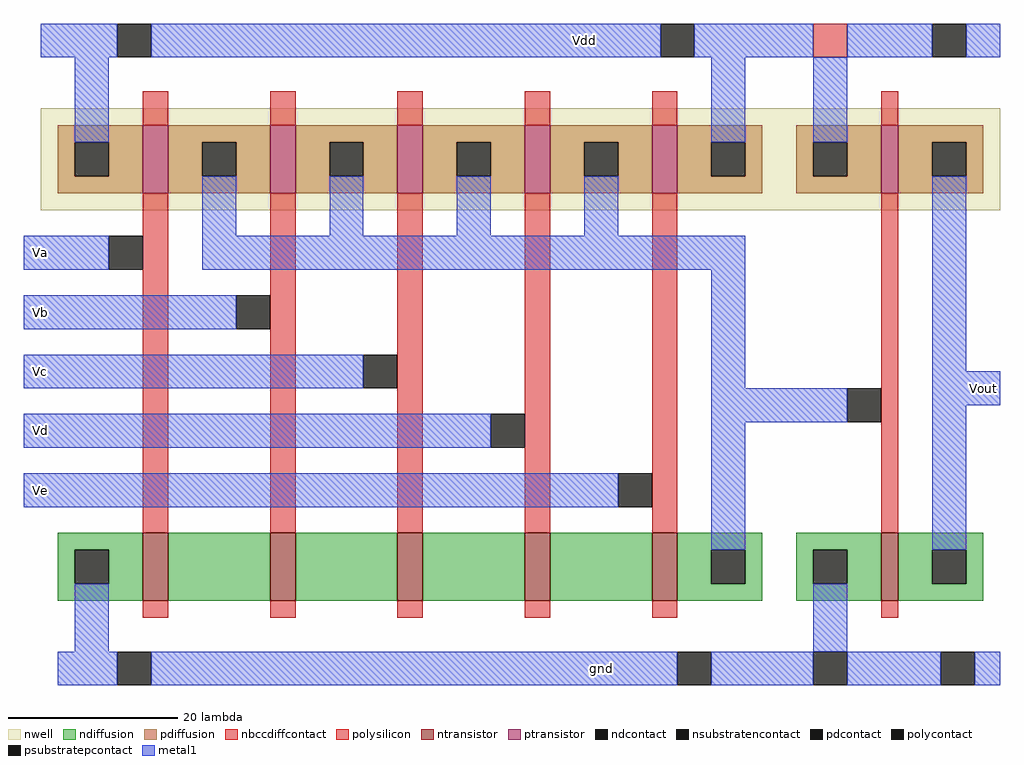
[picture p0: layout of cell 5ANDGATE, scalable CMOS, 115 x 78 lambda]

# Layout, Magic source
magic
tech scmos
<< nwell >>
rect -13 49 100 61
<< polysilicon >>
rect -1 59 2 63
rect 14 59 17 63
rect 29 59 32 63
rect 44 59 47 63
rect 59 59 62 63
rect 86 59 88 63
rect -1 11 2 51
rect 14 11 17 51
rect 29 11 32 51
rect 44 11 47 51
rect 59 11 62 51
rect 86 11 88 51
rect -1 1 2 3
rect 14 1 17 3
rect 29 1 32 3
rect 44 1 47 3
rect 59 1 62 3
rect 86 1 88 3
<< ndiffusion >>
rect -11 9 -1 11
rect -11 5 -9 9
rect -5 5 -1 9
rect -11 3 -1 5
rect 2 3 14 11
rect 17 3 29 11
rect 32 3 44 11
rect 47 3 59 11
rect 62 9 72 11
rect 62 5 66 9
rect 70 5 72 9
rect 62 3 72 5
rect 76 9 86 11
rect 76 5 78 9
rect 82 5 86 9
rect 76 3 86 5
rect 88 9 98 11
rect 88 5 92 9
rect 96 5 98 9
rect 88 3 98 5
<< pdiffusion >>
rect -11 57 -1 59
rect -11 53 -9 57
rect -5 53 -1 57
rect -11 51 -1 53
rect 2 57 14 59
rect 2 53 6 57
rect 10 53 14 57
rect 2 51 14 53
rect 17 57 29 59
rect 17 53 21 57
rect 25 53 29 57
rect 17 51 29 53
rect 32 57 44 59
rect 32 53 36 57
rect 40 53 44 57
rect 32 51 44 53
rect 47 57 59 59
rect 47 53 51 57
rect 55 53 59 57
rect 47 51 59 53
rect 62 57 72 59
rect 62 53 66 57
rect 70 53 72 57
rect 62 51 72 53
rect 76 57 86 59
rect 76 53 78 57
rect 82 53 86 57
rect 76 51 86 53
rect 88 57 98 59
rect 88 53 92 57
rect 96 53 98 57
rect 88 51 98 53
<< metal1 >>
rect -13 67 -4 71
rect 0 67 60 71
rect 64 67 78 71
rect 82 67 92 71
rect 96 67 100 71
rect -9 57 -5 67
rect 66 57 70 67
rect 6 46 10 53
rect 21 46 25 53
rect 36 46 40 53
rect 78 57 82 67
rect 51 46 55 53
rect -15 42 -5 46
rect 6 42 70 46
rect -15 35 10 39
rect -15 28 25 32
rect 66 28 70 42
rect 92 30 96 53
rect -15 21 40 25
rect 66 24 82 28
rect 92 26 100 30
rect -15 14 55 18
rect 66 9 70 24
rect 92 9 96 26
rect -9 -3 -5 5
rect 78 -3 82 5
rect -11 -7 -4 -3
rect 0 -7 62 -3
rect 66 -7 78 -3
rect 82 -7 93 -3
rect 97 -7 100 -3
<< ntransistor >>
rect -1 3 2 11
rect 14 3 17 11
rect 29 3 32 11
rect 44 3 47 11
rect 59 3 62 11
rect 86 3 88 11
<< ptransistor >>
rect -1 51 2 59
rect 14 51 17 59
rect 29 51 32 59
rect 44 51 47 59
rect 59 51 62 59
rect 86 51 88 59
<< polycontact >>
rect -5 42 -1 46
rect 10 35 14 39
rect 25 28 29 32
rect 40 21 44 25
rect 55 14 59 18
rect 82 24 86 28
<< ndcontact >>
rect -9 5 -5 9
rect 66 5 70 9
rect 78 5 82 9
rect 92 5 96 9
<< pdcontact >>
rect -9 53 -5 57
rect 6 53 10 57
rect 21 53 25 57
rect 36 53 40 57
rect 51 53 55 57
rect 66 53 70 57
rect 78 53 82 57
rect 92 53 96 57
<< nbccdiffcontact >>
rect 78 67 82 71
<< psubstratepcontact >>
rect -4 -7 0 -3
rect 62 -7 66 -3
rect 78 -7 82 -3
rect 93 -7 97 -3
<< nsubstratencontact >>
rect -4 67 0 71
rect 60 67 64 71
rect 92 67 96 71
<< labels >>
rlabel metal1 51 69 51 69 5 Vdd
rlabel metal1 -13 44 -13 44 3 Va
rlabel metal1 98 28 98 28 7 Vout
rlabel metal1 53 -5 53 -5 1 gnd
rlabel metal1 -13 37 -13 37 3 Vb
rlabel metal1 -13 30 -13 30 3 Vc
rlabel metal1 -13 23 -13 23 3 Vd
rlabel metal1 -13 16 -13 16 3 Ve
<< end >>
